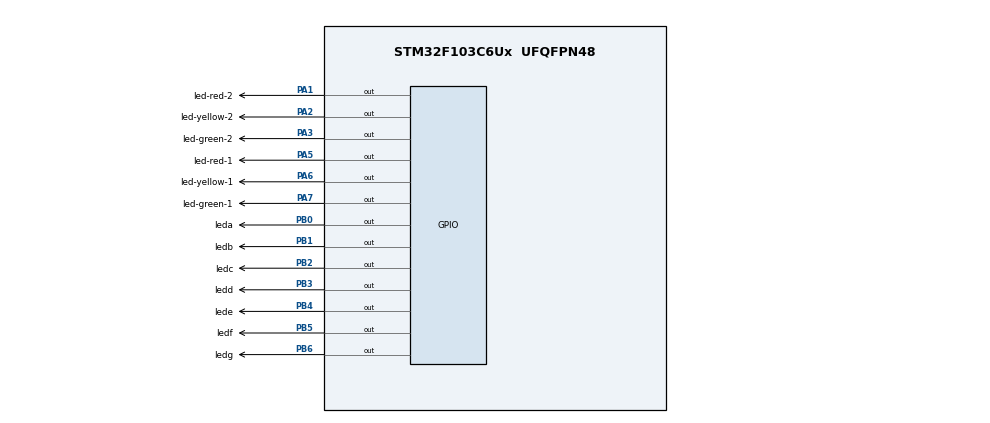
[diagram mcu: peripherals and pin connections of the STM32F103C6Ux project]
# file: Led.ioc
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Mcu.Family=STM32F1
Mcu.Name=STM32F103C6Ux
Mcu.Package=UFQFPN48
NVIC.PriorityGroup=NVIC_PRIORITYGROUP_4
PA1.GPIO_Label=led-red-2
PA1.PinState=GPIO_PIN_SET
PA1.Signal=GPIO_Output
PA2.GPIO_Label=led-yellow-2
PA2.PinState=GPIO_PIN_SET
PA2.Signal=GPIO_Output
PA3.GPIO_Label=led-green-2
PA3.PinState=GPIO_PIN_SET
PA3.Signal=GPIO_Output
PA5.GPIO_Label=led-red-1
PA5.PinState=GPIO_PIN_SET
PA5.Signal=GPIO_Output
PA6.GPIO_Label=led-yellow-1
PA6.PinState=GPIO_PIN_SET
PA6.Signal=GPIO_Output
PA7.GPIO_Label=led-green-1
PA7.PinState=GPIO_PIN_SET
PA7.Signal=GPIO_Output
PB0.GPIO_Label=leda
PB0.PinState=GPIO_PIN_SET
PB0.Signal=GPIO_Output
PB1.GPIO_Label=ledb
PB1.PinState=GPIO_PIN_SET
PB1.Signal=GPIO_Output
PB2.GPIO_Label=ledc
PB2.PinState=GPIO_PIN_SET
PB2.Signal=GPIO_Output
PB3.GPIO_Label=ledd
PB3.PinState=GPIO_PIN_SET
PB3.Signal=GPIO_Output
PB4.GPIO_Label=lede
PB4.PinState=GPIO_PIN_SET
PB4.Signal=GPIO_Output
PB5.GPIO_Label=ledf
PB5.PinState=GPIO_PIN_SET
PB5.Signal=GPIO_Output
PB6.GPIO_Label=ledg
PB6.PinState=GPIO_PIN_SET
PB6.Signal=GPIO_Output
ProjectManager.HeapSize=0x200
ProjectManager.StackSize=0x400
ProjectManager.TargetToolchain=STM32CubeIDE
RCC.APB1Freq_Value=8000000
RCC.APB2Freq_Value=8000000
VP_SYS_VS_ND.Mode=No_Debug
board=custom

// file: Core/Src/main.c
/* USER CODE BEGIN Header */
/**
  ******************************************************************************
  * @file           : main.c
  * @brief          : Main program body
  ******************************************************************************
  * @attention
  *
  * <h2><center>&copy; Copyright (c) 2026 STMicroelectronics.
  * All rights reserved.</center></h2>
  *
  * This software component is licensed by ST under BSD 3-Clause license,
  * the "License"; You may not use this file except in compliance with the
  * License. You may obtain a copy of the License at:
  *                        opensource.org/licenses/BSD-3-Clause
  *
  ******************************************************************************
  */
/* USER CODE END Header */
#include "main.h"

void SystemClock_Config(void);
static void MX_GPIO_Init(void);

/* USER CODE BEGIN 0 */
void display7SEG(int num) {
    const uint8_t segCode[10] = {
        0x40, // 0: 0100 0000
        0x79, // 1: 0111 1001
        0x24, // 2: 0010 0100
        0x30, // 3: 0011 0000
        0x19, // 4: 0001 1001
        0x12, // 5: 0001 0010
        0x02, // 6: 0000 0010
        0x78, // 7: 0111 1000
        0x00, // 8: 0000 0000
        0x10  // 9: 0001 0000
    };

    if (num < 0 || num > 9) return;

    uint8_t code = segCode[num];

    HAL_GPIO_WritePin(GPIOB, GPIO_PIN_0, (code & 0x01) ? GPIO_PIN_SET : GPIO_PIN_RESET);
    HAL_GPIO_WritePin(GPIOB, GPIO_PIN_1, (code & 0x02) ? GPIO_PIN_SET : GPIO_PIN_RESET);
    HAL_GPIO_WritePin(GPIOB, GPIO_PIN_2, (code & 0x04) ? GPIO_PIN_SET : GPIO_PIN_RESET);
    HAL_GPIO_WritePin(GPIOB, GPIO_PIN_3, (code & 0x08) ? GPIO_PIN_SET : GPIO_PIN_RESET);
    HAL_GPIO_WritePin(GPIOB, GPIO_PIN_4, (code & 0x10) ? GPIO_PIN_SET : GPIO_PIN_RESET);
    HAL_GPIO_WritePin(GPIOB, GPIO_PIN_5, (code & 0x20) ? GPIO_PIN_SET : GPIO_PIN_RESET);
    HAL_GPIO_WritePin(GPIOB, GPIO_PIN_6, (code & 0x40) ? GPIO_PIN_SET : GPIO_PIN_RESET);
}

uint16_t clock_leds[12] = {
    GPIO_PIN_4,
    GPIO_PIN_5,
    GPIO_PIN_6,
    GPIO_PIN_7,
    GPIO_PIN_8,
    GPIO_PIN_9,
    GPIO_PIN_10,
    GPIO_PIN_11,
    GPIO_PIN_12,
    GPIO_PIN_13,
    GPIO_PIN_14,
    GPIO_PIN_15
};

void clearAllClock () {
    for (int i = 0; i < 12; i++) {
        HAL_GPIO_WritePin(GPIOA, clock_leds[i], GPIO_PIN_SET);
    }
}

void setNumberOnClock(int num) {
    if (num >= 0 && num < 12) {
        HAL_GPIO_WritePin(GPIOA, clock_leds[num], GPIO_PIN_RESET);
    }
}

void clearNumberOnClock(int num) {
    if (num >= 0 && num < 12) {
        HAL_GPIO_WritePin(GPIOA, clock_leds[num], GPIO_PIN_SET);
    }
}

/* All LEDs are active low. Opposite directions share the same nets.
 * Direction 1: PA5 red, PA6 yellow, PA7 green.
 * Direction 2: PA1 red, PA2 yellow, PA3 green.
 * Common-anode 7SEG: PB0..PB6 = a..g.
 */
static void setTraffic(uint16_t direction1, uint16_t direction2)
{
    /* Turn all traffic LEDs off before enabling the new phase. */
    HAL_GPIO_WritePin(GPIOA, led_red_1_Pin | led_yellow_1_Pin |
                      led_green_1_Pin | led_red_2_Pin |
                      led_yellow_2_Pin | led_green_2_Pin, GPIO_PIN_SET);
    HAL_GPIO_WritePin(GPIOA, direction1 | direction2, GPIO_PIN_RESET);
}

static void countdown(int first, int last)
{
    for (int remaining = first; remaining >= last; remaining--)
    {
        display7SEG(remaining);
        HAL_Delay(1000);
    }
}
/* USER CODE END 0 */

int main(void)
{

  /* MCU Configuration--------------------------------------------------------*/

  /* Reset of all peripherals, Initializes the Flash interface and the Systick. */
  HAL_Init();

  /* Configure the system clock */
  SystemClock_Config();

  /* Initialize all configured peripherals */
  MX_GPIO_Init();
  /* USER CODE BEGIN 2 */
  /* Exercise 10: initialize all twelve clock LEDs (PA4..PA15). */
  GPIO_InitTypeDef clockGPIO = {0};
  clockGPIO.Pin = 0xFFF0U;
  clockGPIO.Mode = GPIO_MODE_OUTPUT_PP;
  clockGPIO.Pull = GPIO_NOPULL;
  clockGPIO.Speed = GPIO_SPEED_FREQ_LOW;
  HAL_GPIO_WritePin(GPIOA, clockGPIO.Pin, GPIO_PIN_SET);
  HAL_GPIO_Init(GPIOA, &clockGPIO);

  /* USER CODE END 2 */

  /* Infinite loop */
  /* USER CODE BEGIN WHILE */
   int counter = 0;
   int hour = 10;
   int min = 10;
   int sec = 50;
  while (1)
  {
	/* Exercise 1 */
//	  HAL_GPIO_WritePin(GPIOA, GPIO_PIN_5, GPIO_PIN_RESET);
//	  HAL_GPIO_WritePin(GPIOA, GPIO_PIN_6, GPIO_PIN_SET);
//	  HAL_Delay(2000);
//
//	  HAL_GPIO_WritePin(GPIOA, GPIO_PIN_5, GPIO_PIN_SET);
//	  HAL_GPIO_WritePin(GPIOA, GPIO_PIN_6, GPIO_PIN_RESET);
//	  HAL_Delay(2000);

	  /* Exercise 2 */
//	   HAL_GPIO_WritePin(GPIOA, GPIO_PIN_5, GPIO_PIN_RESET);
//	   HAL_GPIO_WritePin(GPIOA, GPIO_PIN_6, GPIO_PIN_SET);
//	   HAL_GPIO_WritePin(GPIOA, GPIO_PIN_7, GPIO_PIN_SET);
//	   HAL_Delay(5000);
//
//	   HAL_GPIO_WritePin(GPIOA, GPIO_PIN_5, GPIO_PIN_SET);
//	   HAL_GPIO_WritePin(GPIOA, GPIO_PIN_6, GPIO_PIN_SET);
//	   HAL_GPIO_WritePin(GPIOA, GPIO_PIN_7, GPIO_PIN_RESET);
//	   HAL_Delay(3000);
//
//	   HAL_GPIO_WritePin(GPIOA, GPIO_PIN_5, GPIO_PIN_SET);
//	   HAL_GPIO_WritePin(GPIOA, GPIO_PIN_6, GPIO_PIN_RESET);
//	   HAL_GPIO_WritePin(GPIOA, GPIO_PIN_7, GPIO_PIN_SET);
//	   HAL_Delay(2000);

	  /* Exercise 3 */

//	        //Way 1 RED (5s)  Way 2 GREEN (3s)
//	      HAL_GPIO_WritePin(GPIOA, GPIO_PIN_5, GPIO_PIN_RESET);
//	      HAL_GPIO_WritePin(GPIOA, GPIO_PIN_6, GPIO_PIN_SET);
//	      HAL_GPIO_WritePin(GPIOA, GPIO_PIN_7, GPIO_PIN_SET);
//	      HAL_GPIO_WritePin(GPIOB, GPIO_PIN_0, GPIO_PIN_SET);
//	      HAL_GPIO_WritePin(GPIOB, GPIO_PIN_1, GPIO_PIN_SET);
//	      HAL_GPIO_WritePin(GPIOB, GPIO_PIN_2, GPIO_PIN_RESET);
//	      HAL_Delay(3000);
//
//	      // Way 1 RED (cont. 2s)  Way 2 YELLOW (2s)
//	      HAL_GPIO_WritePin(GPIOB, GPIO_PIN_2, GPIO_PIN_SET);
//	      HAL_GPIO_WritePin(GPIOB, GPIO_PIN_1, GPIO_PIN_RESET);
//	      HAL_Delay(2000);
//
//	      // Way 1 GREEN (3s)  Way 2 RED (5s)
//	      HAL_GPIO_WritePin(GPIOA, GPIO_PIN_5, GPIO_PIN_SET);
//	      HAL_GPIO_WritePin(GPIOA, GPIO_PIN_7, GPIO_PIN_RESET);
//	      HAL_GPIO_WritePin(GPIOB, GPIO_PIN_1, GPIO_PIN_SET);
//	      HAL_GPIO_WritePin(GPIOB, GPIO_PIN_0, GPIO_PIN_RESET);
//	      HAL_Delay(3000);
//
//	      // Way 1 YELLOW (2s)  Way 2 RED (2s)
//	      HAL_GPIO_WritePin(GPIOA, GPIO_PIN_7, GPIO_PIN_SET);   // GREEN1 OFF
//	      HAL_GPIO_WritePin(GPIOA, GPIO_PIN_6, GPIO_PIN_RESET); // YELLOW1 ON
//	      HAL_Delay(2000);

	  /* Exercise 4 */
//	      if (counter >= 10) counter = 0;
//	      display7SEG(counter++);
//	      HAL_Delay(1000);

	  /* Exercise 5 */
    /* Direction 1 RED: 5 seconds; direction 2 GREEN: 3 seconds. */
    setTraffic(led_red_1_Pin, led_green_2_Pin);
    countdown(5, 3);

    /* Direction 1 remains RED for 2 seconds; direction 2 YELLOW. */
    setTraffic(led_red_1_Pin, led_yellow_2_Pin);
    countdown(2, 1);

    /* Direction 1 GREEN: 3 seconds; direction 2 RED. */
    setTraffic(led_green_1_Pin, led_red_2_Pin);
    countdown(3, 1);

    /* Direction 1 YELLOW: 2 seconds; direction 2 remains RED. */
    setTraffic(led_yellow_1_Pin, led_red_2_Pin);
    countdown(2, 1);

    /* Previous standalone countdown example */
//	      if (counter < 0) counter = 9;
//	      display7SEG(counter--);
//	      HAL_Delay(1000);

//	  /* Exercise 6 */
//
//	      for (int i = 0; i < 12; i++) {
//	              HAL_GPIO_WritePin(GPIOA, clock_leds[i], GPIO_PIN_RESET);
//	              HAL_Delay(300);
//	      }

//	  /* Exercise 7 & 8 */
//	      for (int i = 0; i < 12; i++) {
//	              clearAllClock();
//	              setNumberOnClock(i);
//	              HAL_Delay(1000);
//	      }
	 /* Exercise 9 */
//      for (int i = 0; i < 12; i++){
//     	 setNumberOnClock(i);
//     	 HAL_Delay(300);
//      }
//         for (int i = 0; i < 12; i++){
//        	 clearNumberOnClock(i);
//        	 HAL_Delay(300);
//         }
	 /* Exercise 10 */
 	    clearAllClock();
 	    setNumberOnClock(hour % 12);
 	    setNumberOnClock(min / 5);
 	    setNumberOnClock(sec / 5);
 	    sec++;
 	          if (sec >= 60) {
 	              sec = 0;
 	              min++;
 	              if (min >= 60) {
 	                  min = 0;
 	                  hour++;
 	                  if (hour >= 12) {
 	                      hour = 0;
 	                  }
 	              }
 	          }

    HAL_Delay(1000);

    /* USER CODE END WHILE */

  }
}

void SystemClock_Config(void)
{
  RCC_OscInitTypeDef RCC_OscInitStruct = {0};
  RCC_ClkInitTypeDef RCC_ClkInitStruct = {0};

  /** Initializes the RCC Oscillators according to the specified parameters
  * in the RCC_OscInitTypeDef structure.
  */
  RCC_OscInitStruct.OscillatorType = RCC_OSCILLATORTYPE_HSI;
  RCC_OscInitStruct.HSIState = RCC_HSI_ON;
  RCC_OscInitStruct.HSICalibrationValue = RCC_HSICALIBRATION_DEFAULT;
  RCC_OscInitStruct.PLL.PLLState = RCC_PLL_NONE;
  if (HAL_RCC_OscConfig(&RCC_OscInitStruct) != HAL_OK)
  {
    Error_Handler();
  }
  /** Initializes the CPU, AHB and APB buses clocks
  */
  RCC_ClkInitStruct.ClockType = RCC_CLOCKTYPE_HCLK|RCC_CLOCKTYPE_SYSCLK
                              |RCC_CLOCKTYPE_PCLK1|RCC_CLOCKTYPE_PCLK2;
  RCC_ClkInitStruct.SYSCLKSource = RCC_SYSCLKSOURCE_HSI;
  RCC_ClkInitStruct.AHBCLKDivider = RCC_SYSCLK_DIV1;
  RCC_ClkInitStruct.APB1CLKDivider = RCC_HCLK_DIV1;
  RCC_ClkInitStruct.APB2CLKDivider = RCC_HCLK_DIV1;

  if (HAL_RCC_ClockConfig(&RCC_ClkInitStruct, FLASH_LATENCY_0) != HAL_OK)
  {
    Error_Handler();
  }
}

static void MX_GPIO_Init(void)
{
  GPIO_InitTypeDef GPIO_InitStruct = {0};

  /* GPIO Ports Clock Enable */
  __HAL_RCC_GPIOA_CLK_ENABLE();
  __HAL_RCC_GPIOB_CLK_ENABLE();

  /*Configure GPIO pin Output Level */
  HAL_GPIO_WritePin(GPIOA, led_red_2_Pin|led_yellow_2_Pin|led_green_2_Pin|led_red_1_Pin
                          |led_yellow_1_Pin|led_green_1_Pin, GPIO_PIN_SET);

  /*Configure GPIO pin Output Level */
  HAL_GPIO_WritePin(GPIOB, leda_Pin|ledb_Pin|ledc_Pin|ledd_Pin
                          |lede_Pin|ledf_Pin|ledg_Pin, GPIO_PIN_SET);

  /*Configure GPIO pins : led_red_2_Pin led_yellow_2_Pin led_green_2_Pin led_red_1_Pin
                           led_yellow_1_Pin led_green_1_Pin */
  GPIO_InitStruct.Pin = led_red_2_Pin|led_yellow_2_Pin|led_green_2_Pin|led_red_1_Pin
                          |led_yellow_1_Pin|led_green_1_Pin;
  GPIO_InitStruct.Mode = GPIO_MODE_OUTPUT_PP;
  GPIO_InitStruct.Pull = GPIO_NOPULL;
  GPIO_InitStruct.Speed = GPIO_SPEED_FREQ_LOW;
  HAL_GPIO_Init(GPIOA, &GPIO_InitStruct);

  /*Configure GPIO pins : leda_Pin ledb_Pin ledc_Pin ledd_Pin
                           lede_Pin ledf_Pin ledg_Pin */
  GPIO_InitStruct.Pin = leda_Pin|ledb_Pin|ledc_Pin|ledd_Pin
                          |lede_Pin|ledf_Pin|ledg_Pin;
  GPIO_InitStruct.Mode = GPIO_MODE_OUTPUT_PP;
  GPIO_InitStruct.Pull = GPIO_NOPULL;
  GPIO_InitStruct.Speed = GPIO_SPEED_FREQ_LOW;
  HAL_GPIO_Init(GPIOB, &GPIO_InitStruct);

}

void Error_Handler(void)
{
  __disable_irq();
  while (1)
  {
  }
}

/************************ (C) COPYRIGHT STMicroelectronics *****END OF FILE****/
